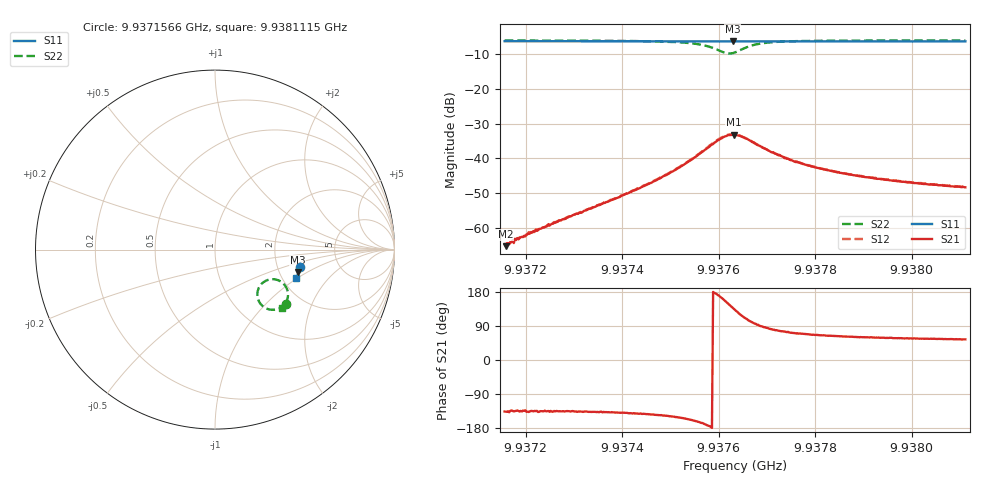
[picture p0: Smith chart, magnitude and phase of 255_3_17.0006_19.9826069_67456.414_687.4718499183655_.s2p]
#  HZ  S  RI  R  50.00
! Rohde & Schwarz Vector Network Analyzer
! Rohde-Schwarz,ZNB20-2Port,1311601062101988,3.16
! Created: UTC 3/20/2024, 11:03:27 PM
! freq[Hz]  re:S11  im:S11  re:S21  im:S21  re:S12  im:S12  re:S22  im:S22
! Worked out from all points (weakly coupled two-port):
!   401 points, 9.9371566 GHz to 9.9381115 GHz, reference 50 ohm
!   highest |S21| = -33.16 dB at 9.9376316 GHz (marker M1); lowest = -65.3 dB at 9.937159 GHz (marker M2)
!   lowest |S11| = -6.4 dB at 9.9376293 GHz (marker M3), VSWR 2.84, Z = 126 - j41.7 ohm
!   |S11| at or under -10 dB: nowhere
!   |S22| runs from -9.8 to -6.1 dB; largest |S21 - S12| = 0.001
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9.93715658e9  0.4741 -0.0976  -0.000414 -0.000401  -0.000426 -0.000364  0.3941 -0.3011
9.93715897e9  0.4741 -0.0978  -0.000395 -0.000377  -0.000421 -0.000401  0.3937 -0.3012
9.93716851e9  0.4739 -0.0984  -0.000434 -0.000445  -0.000452 -0.000434  0.3931 -0.3019
9.93718284e9  0.4737 -0.0993  -0.000489 -0.000521  -0.000492 -0.000498  0.392 -0.3029
9.93722581e9  0.4727 -0.1023  -0.000678 -0.00063  -0.000695 -0.000663  0.3886 -0.3063
9.93731652e9  0.471 -0.1084  -0.0012 -0.00114  -0.00128 -0.00116  0.3794 -0.3142
9.93740724e9  0.4691 -0.1145  -0.00234 -0.002  -0.00239 -0.00194  0.3655 -0.3238
9.93747647e9  0.4676 -0.1193  -0.00418 -0.00291  -0.00429 -0.00286  0.346 -0.3319
9.93752421e9  0.4662 -0.1227  -0.00695 -0.00354  -0.00714 -0.00347  0.3207 -0.3353
9.93757196e9  0.4644 -0.1256  -0.0131 -0.00241  -0.0134 -0.00198  0.2711 -0.3192
9.93760538e9  0.4628 -0.1272  -0.0186 0.00503  -0.019 0.00568  0.2357 -0.2525
9.93761732e9  0.4625 -0.1274  -0.0187 0.0101  -0.0187 0.0108  0.2437 -0.2139
9.93762925e9  0.4622 -0.1275  -0.0162 0.0147  -0.016 0.0154  0.2707 -0.1812
9.93763164e9  0.4624 -0.1274  -0.0156 0.0155  -0.015 0.0161  0.278 -0.1766
9.93763403e9  0.4625 -0.1276  -0.0146 0.0161  -0.0143 0.0169  0.2852 -0.1727
9.93766268e9  0.4629 -0.129  -0.00446 0.0179  -0.00399 0.018  0.3657 -0.1775
9.93769132e9  0.4629 -0.1313  0.000459 0.0142  0.00085 0.0143  0.3984 -0.2139
9.93775339e9  0.4618 -0.1358  0.00296 0.00877  0.00313 0.00883  0.4059 -0.263
9.93779397e9  0.4611 -0.1386  0.00303 0.00699  0.00313 0.00705  0.4022 -0.279
9.93786798e9  0.4592 -0.1436  0.00282 0.00522  0.00292 0.0052  0.3944 -0.2967
9.93795392e9  0.4573 -0.1493  0.00252 0.00413  0.00267 0.00412  0.3869 -0.309
9.93811148e9  0.453 -0.1596  0.00223 0.00312  0.00234 0.00313  0.375 -0.3237
